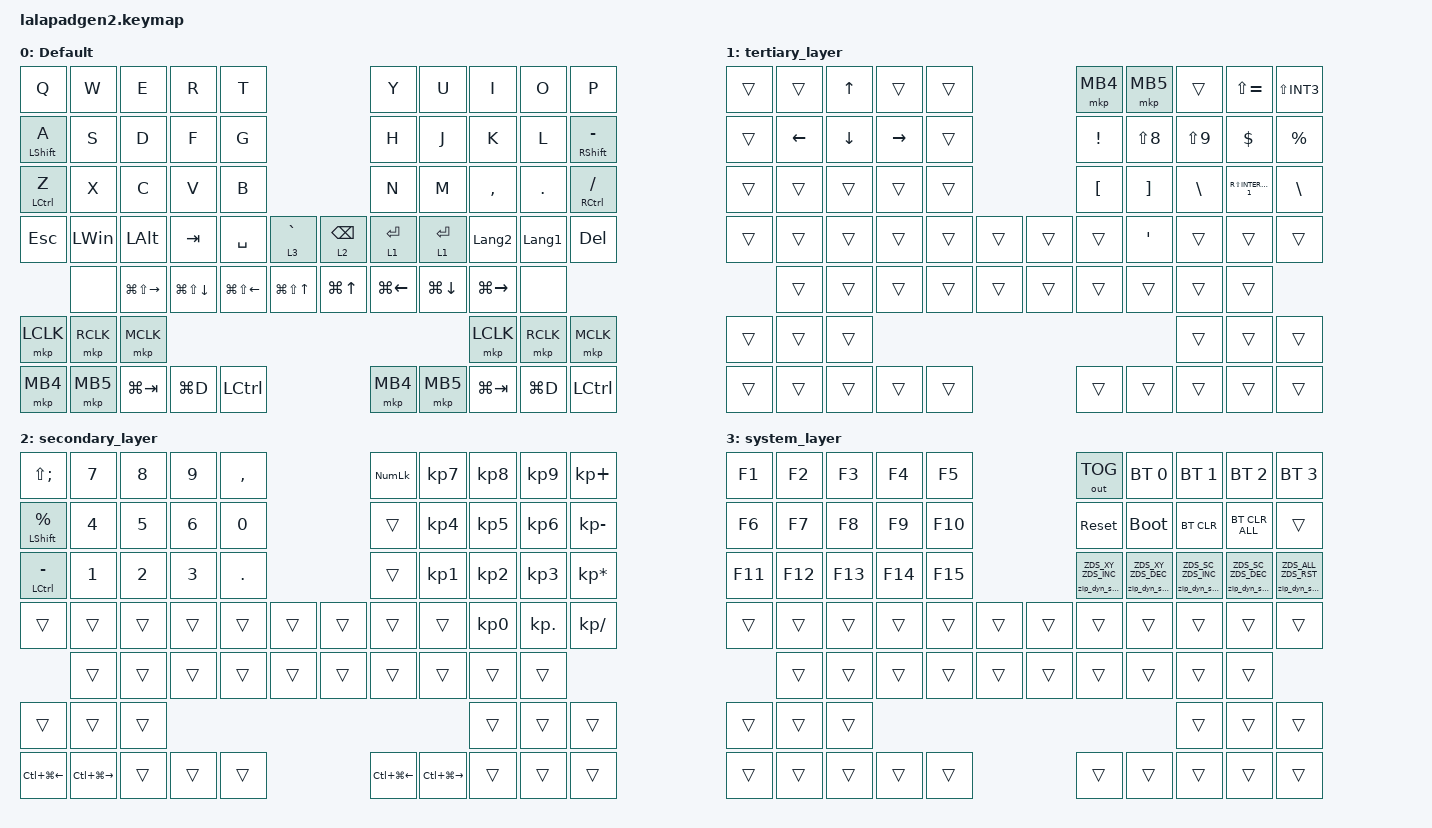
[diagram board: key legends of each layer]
#include <input/processors.dtsi>
#include <dt-bindings/zmk/zip_dynamic_scale.h>
#include <behaviors.dtsi>
#include <dt-bindings/zmk/bt.h>
#include <dt-bindings/zmk/keys.h>
#include <dt-bindings/zmk/outputs.h>
#include <dt-bindings/zmk/pointing.h>

#define DEFAULT_LAYER   0
#define SECONDARY_LAYER 1
#define TERTIARY_LAYER  2
#define SYSTEM_LAYER    3

&lt {
    quick-tap-ms = <125>;
    tapping-term-ms = <160>;
};

&mt {
    tapping-term-ms = <220>;
    flavor = "tap-preferred";
};

/ {
    behaviors {
        zip_dyn_scale: zip_dyn_scale {
            compatible = "zmk,behavior-zip-dynamic-scale";
            #binding-cells = <2>;
        };

        zip_dyn_scale_set: zip_dyn_scale_set {
            compatible = "zmk,behavior-zip-dynamic-scale-set";
            #binding-cells = <2>;
        };

        mt2: mod_tap2 {
            compatible = "zmk,behavior-hold-tap";
            #binding-cells = <2>;
            flavor = "tap-preferred";
            tapping-term-ms = <200>;
            quick-tap-ms = <200>;
            require-prior-idle-ms = <125>;
            bindings = <&kp>, <&kp>;
        };

        tap_dance_layer_1and2: tap_dance_layer_1and2 {
            compatible = "zmk,behavior-tap-dance";
            label = "td_mo12";
            #binding-cells = <0>;
            bindings = <&mo 3>, <&mo 1>;
        };
    };

    keymap {
        compatible = "zmk,keymap";

        DEFAULT_LAYER {
            display-name = "Default";
            bindings = <
&kp Q             &kp W      &kp E              &kp R             &kp T                                              &kp Y         &kp U         &kp I           &kp O           &kp P
&mt LEFT_SHIFT A  &kp S      &kp D              &kp F             &kp G                                              &kp H         &kp J         &kp K           &kp L           &mt2 RIGHT_SHIFT MINUS
&mt2 LCTRL Z      &kp X      &kp C              &kp V             &kp B                                              &kp N         &kp M         &kp COMMA       &kp PERIOD      &mt RCTRL SLASH
&kp ESC           &kp LWIN   &kp LEFT_ALT       &kp TAB           &kp SPACE         &lt 3 GRAVE     &lt 2 BACKSPACE  &lt 1 ENTER   &lt 1 ENTER   &kp LANGUAGE_2  &kp LANGUAGE_1  &kp DELETE
                  &none      &kp LG(LS(RIGHT))  &kp LG(LS(DOWN))  &kp LG(LS(LEFT))  &kp LG(LS(UP))  &kp LG(UP)       &kp LG(LEFT)  &kp LG(DOWN)  &kp LG(RIGHT)   &none
&mkp LCLK         &mkp RCLK  &mkp MCLK                                                                                                           &mkp LCLK       &mkp RCLK       &mkp MCLK
&mkp MB4          &mkp MB5   &kp LG(TAB)        &kp LG(D)         &kp LCTRL                                          &mkp MB4      &mkp MB5      &kp LG(TAB)     &kp LG(D)       &kp LCTRL
            >;
        };

        TERTIARY_LAYER {
            display-name = "tertiary_layer";
            bindings = <
&trans  &trans    &kp UP    &trans     &trans                  &mkp MB4         &mkp MB5        &trans      &kp LS(EQUAL)            &kp LS(INT3)
&trans  &kp LEFT  &kp DOWN  &kp RIGHT  &trans                  &kp EXCLAMATION  &kp LS(N8)      &kp LS(N9)  &kp DOLLAR               &kp PERCENT
&trans  &trans    &trans    &trans     &trans                  &kp LBKT         &kp RBKT        &kp BSLH    &kp RS(INTERNATIONAL_1)  &kp BSLH
&trans  &trans    &trans    &trans     &trans  &trans  &trans  &trans           &kp APOSTROPHE  &trans      &trans                   &trans
        &trans    &trans    &trans     &trans  &trans  &trans  &trans           &trans          &trans      &trans
&trans  &trans    &trans                                                                        &trans      &trans                   &trans
&trans  &trans    &trans    &trans     &trans                  &trans           &trans          &trans      &trans                   &trans
            >;
        };

        SECONDARY_LAYER {
            display-name = "secondary_layer";
            bindings = <
&kp LS(SEMICOLON)       &kp NUMBER_7       &kp NUMBER_8  &kp NUMBER_9  &kp COMMA                   &kp KP_NUMLOCK    &kp KP_NUMBER_7    &kp KP_NUMBER_8  &kp KP_NUMBER_9  &kp KP_PLUS
&mt LEFT_SHIFT PERCENT  &kp NUMBER_4       &kp NUMBER_5  &kp NUMBER_6  &kp N0                      &trans            &kp KP_NUMBER_4    &kp KP_NUMBER_5  &kp KP_NUMBER_6  &kp KP_MINUS
&mt LCTRL MINUS         &kp NUMBER_1       &kp NUMBER_2  &kp NUMBER_3  &kp PERIOD                  &trans            &kp KP_NUMBER_1    &kp KP_NUMBER_2  &kp KP_NUMBER_3  &kp KP_ASTERISK
&trans                  &trans             &trans        &trans        &trans      &trans  &trans  &trans            &trans             &kp KP_NUMBER_0  &kp KP_DOT       &kp KP_DIVIDE
                        &trans             &trans        &trans        &trans      &trans  &trans  &trans            &trans             &trans           &trans
&trans                  &trans             &trans                                                                                       &trans           &trans           &trans
&kp LC(LG(LEFT))        &kp LC(LG(RIGHT))  &trans        &trans        &trans                      &kp LC(LG(LEFT))  &kp LC(LG(RIGHT))  &trans           &trans           &trans
            >;
        };

        SYSTEM_LAYER {
            display-name = "system_layer";
            bindings = <
&kp F1   &kp F2   &kp F3   &kp F4   &kp F5                   &out OUT_TOG                   &bt BT_SEL 0                   &bt BT_SEL 1                   &bt BT_SEL 2                   &bt BT_SEL 3
&kp F6   &kp F7   &kp F8   &kp F9   &kp F10                  &sys_reset                     &bootloader                    &bt BT_CLR                     &bt BT_CLR_ALL                 &trans
&kp F11  &kp F12  &kp F13  &kp F14  &kp F15                  &zip_dyn_scale ZDS_XY ZDS_INC  &zip_dyn_scale ZDS_XY ZDS_DEC  &zip_dyn_scale ZDS_SC ZDS_INC  &zip_dyn_scale ZDS_SC ZDS_DEC  &zip_dyn_scale ZDS_ALL ZDS_RST
&trans   &trans   &trans   &trans   &trans   &trans  &trans  &trans                         &trans                         &trans                         &trans                         &trans
         &trans   &trans   &trans   &trans   &trans  &trans  &trans                         &trans                         &trans                         &trans
&trans   &trans   &trans                                                                                                   &trans                         &trans                         &trans
&trans   &trans   &trans   &trans   &trans                   &trans                         &trans                         &trans                         &trans                         &trans
            >;
        };
    };

    conditional_layers {
        compatible = "zmk,conditional-layers";

        Cond_Syslayer {
            if-layers = <3 1>;
            then-layer = <4>;
        };
    };
};
